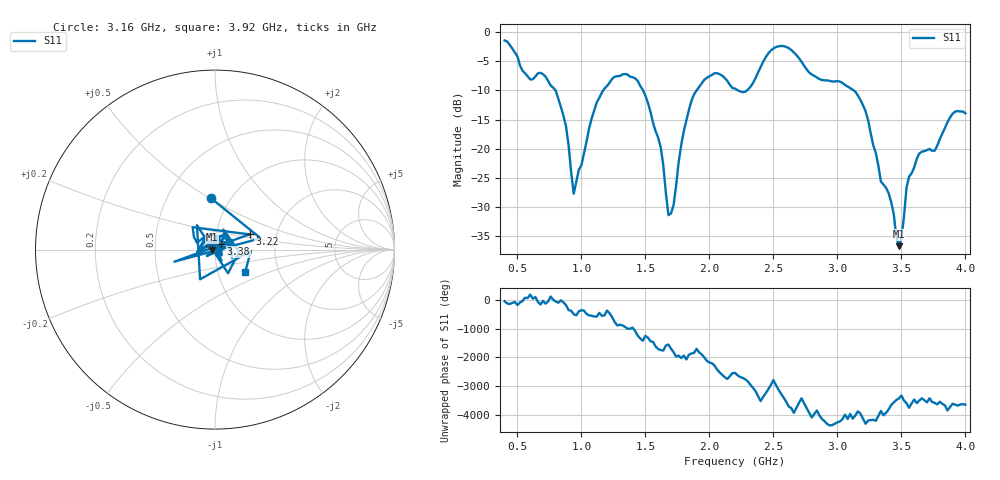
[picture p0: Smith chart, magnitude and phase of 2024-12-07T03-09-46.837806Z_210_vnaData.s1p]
!Created with skrf (http://scikit-rf.org).
# Hz S RI R 50.0
!freq ReS11 ImS11
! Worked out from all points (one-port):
!   181 points, 400 MHz to 4 GHz, reference 50 ohm
!   lowest |S11| = -36.7 dB at 3.48 GHz (marker M1), VSWR 1.03, Z = 48.6 + j0.0134 ohm
!   |S11| at or under -10 dB: 797.7 MHz to 1.171 GHz (372.9 MHz wide, 37.9 % of centre); 1.482 GHz to 1.9 GHz (418 MHz wide, 24.7 % of centre); 3.127 GHz to end of sweep (the widest 3 of 4)
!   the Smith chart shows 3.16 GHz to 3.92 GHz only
!   S11 on the Smith chart (normalised r, x): 3.16 GHz: 0.82, +0.51; 3.22 GHz: 1.45, +0.26; 3.38 GHz: 1.07, +0.07; 3.92 GHz: 1.36, -0.35
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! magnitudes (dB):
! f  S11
! 400 MHz  -1.4
! 600 MHz  -8.1
! 720 MHz  -7.6
! 860 MHz  -14.4
! 940 MHz  -27.7
! 1.12 GHz  -12.0
! 1.3 GHz  -7.5
! 1.5 GHz  -10.9
! 1.62 GHz  -19.8
! 1.68 GHz  -31.4
! 1.72 GHz  -29.6
! 1.76 GHz  -22.2
! 1.86 GHz  -11.8
! 1.96 GHz  -8.2
! 2.2 GHz  -9.7
! 2.3 GHz  -9.9
! 2.5 GHz  -2.8
! 2.66 GHz  -3.5
! 2.8 GHz  -7.3
! 3.1 GHz  -9.6
! 3.16 GHz  -10.9
! 3.22 GHz  -13.5
! 3.34 GHz  -25.6
! 3.38 GHz  -26.7
! 3.48 GHz  -36.7
! 3.56 GHz  -24.8
! 3.92 GHz  -13.6
! 4 GHz  -13.9
